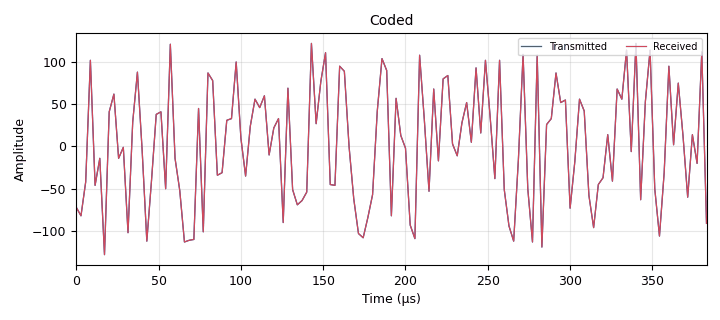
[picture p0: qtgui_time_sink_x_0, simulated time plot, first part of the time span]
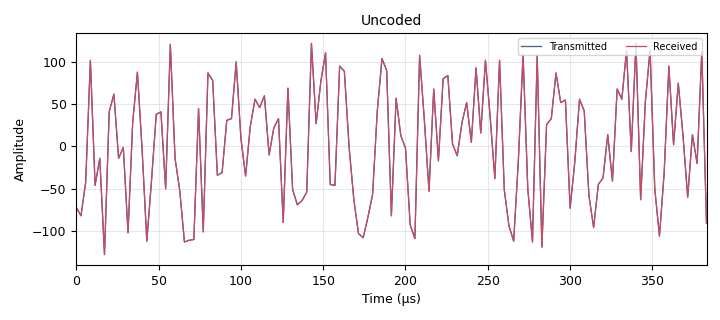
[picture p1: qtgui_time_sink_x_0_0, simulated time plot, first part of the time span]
<?xml version='1.0' encoding='utf-8'?>
<?grc format='1' created='3.7.9'?>
<flow_graph>
<block>
<key>options</key>
<param><key>id</key><value>polar_code_example</value></param>
<param><key>author</key><value>Johannes Demel</value></param>
<param><key>category</key><value>Custom</value></param>
<param><key>generate_options</key><value>qt_gui</value></param>
<param><key>title</key><value>POLAR code example flowgraph</value></param>
</block>
<block>
<key>variable</key>
<param><key>id</key><value>block_size</value></param>
<param><key>value</key><value>1024</value></param>
</block>
<block>
<key>variable</key>
<param><key>id</key><value>n_info_bits</value></param>
<param><key>value</key><value>block_size / 2</value></param>
</block>
<block>
<key>variable_qtgui_range</key>
<param><key>id</key><value>noise</value></param>
<param><key>value</key><value>0.1</value></param>
<param><key>gui_hint</key><value>0,0,1,2</value></param>
<param><key>label</key><value>Noive Voltage</value></param>
<param><key>orient</key><value>Qt.Horizontal</value></param>
<param><key>start</key><value>0</value></param>
<param><key>step</key><value>0.01</value></param>
<param><key>stop</key><value>2</value></param>
</block>
<block>
<key>variable_polar_code_configurator</key>
<param><key>id</key><value>polar_config</value></param>
<param><key>num_info_bits</key><value>n_info_bits</value></param>
<param><key>block_size</key><value>block_size</value></param>
<param><key>channel</key><value>polar.CHANNEL_TYPE_BEC</value></param>
<param><key>design_snr</key><value>0.0</value></param>
<param><key>mu</key><value>32</value></param>
</block>
<block>
<key>variable_polar_decoder_sc_def</key>
<param><key>id</key><value>polar_decoder</value></param>
<param><key>num_info_bits</key><value>n_info_bits</value></param>
<param><key>block_size</key><value>block_size</value></param>
<param><key>frozen_bit_positions</key><value>polar_config['positions']</value></param>
<param><key>frozen_bit_values</key><value>polar_config['values']</value></param>
<param><key>ndim</key><value>0</value></param>
</block>
<block>
<key>variable_polar_encoder_def</key>
<param><key>id</key><value>polar_encoder</value></param>
<param><key>num_info_bits</key><value>n_info_bits</value></param>
<param><key>block_size</key><value>block_size</value></param>
<param><key>frozen_bit_positions</key><value>polar_config['positions']</value></param>
<param><key>frozen_bit_values</key><value>polar_config['values']</value></param>
<param><key>is_packed</key><value>False</value></param>
<param><key>ndim</key><value>0</value></param>
</block>
<block>
<key>variable_polar_decoder_sc_list_def</key>
<param><key>id</key><value>polar_scld</value></param>
<param><key>num_info_bits</key><value>n_info_bits</value></param>
<param><key>block_size</key><value>block_size</value></param>
<param><key>_enabled</key><value>0</value></param>
<param><key>frozen_bit_positions</key><value>polar_config['positions']</value></param>
<param><key>frozen_bit_values</key><value>polar_config['values']</value></param>
<param><key>max_list_size</key><value>8</value></param>
<param><key>ndim</key><value>0</value></param>
</block>
<block>
<key>variable</key>
<param><key>id</key><value>samp_rate</value></param>
<param><key>value</key><value>350e3</value></param>
</block>
<block>
<key>analog_fastnoise_source_x</key>
<param><key>id</key><value>analog_fastnoise_source_x_0</value></param>
<param><key>amp</key><value>noise</value></param>
<param><key>noise_type</key><value>analog.GR_GAUSSIAN</value></param>
<param><key>type</key><value>short</value></param>
<param><key>seed</key><value>0</value></param>
<param><key>samples</key><value>8192</value></param>
</block>
<block>
<key>analog_fastnoise_source_x</key>
<param><key>id</key><value>analog_fastnoise_source_x_0_0</value></param>
<param><key>amp</key><value>noise</value></param>
<param><key>noise_type</key><value>analog.GR_GAUSSIAN</value></param>
<param><key>type</key><value>short</value></param>
<param><key>seed</key><value>0</value></param>
<param><key>samples</key><value>8192</value></param>
</block>
<block>
<key>analog_random_source_x</key>
<param><key>id</key><value>analog_random_source_x_0</value></param>
<param><key>max</key><value>256</value></param>
<param><key>min</key><value>0</value></param>
<param><key>num_samps</key><value>2 ** 10 +1</value></param>
<param><key>type</key><value>byte</value></param>
<param><key>repeat</key><value>True</value></param>
</block>
<block>
<key>blocks_add_xx</key>
<param><key>id</key><value>blocks_add_xx_0</value></param>
<param><key>type</key><value>short</value></param>
</block>
<block>
<key>blocks_add_xx</key>
<param><key>id</key><value>blocks_add_xx_0_0</value></param>
<param><key>type</key><value>short</value></param>
</block>
<block>
<key>blocks_char_to_float</key>
<param><key>id</key><value>blocks_char_to_float_0</value></param>
<param><key>scale</key><value>1.0</value></param>
</block>
<block>
<key>blocks_char_to_float</key>
<param><key>id</key><value>blocks_char_to_float_0_0</value></param>
<param><key>scale</key><value>1.0</value></param>
</block>
<block>
<key>blocks_char_to_float</key>
<param><key>id</key><value>blocks_char_to_float_0_1</value></param>
<param><key>scale</key><value>1.0</value></param>
</block>
<block>
<key>blocks_char_to_float</key>
<param><key>id</key><value>blocks_char_to_float_0_1_0</value></param>
<param><key>scale</key><value>1.0</value></param>
</block>
<block>
<key>blocks_char_to_float</key>
<param><key>id</key><value>blocks_char_to_float_0_2</value></param>
<param><key>scale</key><value>1</value></param>
</block>
<block>
<key>blocks_char_to_short</key>
<param><key>id</key><value>blocks_char_to_short_0</value></param>
</block>
<block>
<key>blocks_char_to_short</key>
<param><key>id</key><value>blocks_char_to_short_0_0</value></param>
</block>
<block>
<key>blocks_pack_k_bits_bb</key>
<param><key>id</key><value>blocks_pack_k_bits_bb_0</value></param>
<param><key>k</key><value>8</value></param>
</block>
<block>
<key>blocks_pack_k_bits_bb</key>
<param><key>id</key><value>blocks_pack_k_bits_bb_0_0</value></param>
<param><key>k</key><value>8</value></param>
</block>
<block>
<key>blocks_short_to_char</key>
<param><key>id</key><value>blocks_short_to_char_0</value></param>
</block>
<block>
<key>blocks_short_to_char</key>
<param><key>id</key><value>blocks_short_to_char_0_0</value></param>
</block>
<block>
<key>blocks_unpack_k_bits_bb</key>
<param><key>id</key><value>blocks_unpack_k_bits_bb_0</value></param>
<param><key>k</key><value>8</value></param>
</block>
<block>
<key>digital_map_bb</key>
<param><key>id</key><value>digital_map_bb_0</value></param>
<param><key>map</key><value>[-1, 1]</value></param>
</block>
<block>
<key>fec_ber_bf</key>
<param><key>id</key><value>fec_ber_bf_0</value></param>
<param><key>berminerrors</key><value>10000</value></param>
<param><key>test_mode</key><value>False</value></param>
</block>
<block>
<key>fec_ber_bf</key>
<param><key>id</key><value>fec_ber_bf_0_0</value></param>
<param><key>berminerrors</key><value>10000</value></param>
<param><key>test_mode</key><value>False</value></param>
</block>
<block>
<key>fec_extended_decoder</key>
<param><key>id</key><value>fec_extended_decoder_0</value></param>
<param><key>decoder_list</key><value>polar_decoder</value></param>
<param><key>puncpat</key><value>'11'</value></param>
<param><key>threadtype</key><value>none</value></param>
</block>
<block>
<key>fec_extended_encoder</key>
<param><key>id</key><value>fec_extended_encoder_0</value></param>
<param><key>encoder_list</key><value>polar_encoder</value></param>
<param><key>puncpat</key><value>'11'</value></param>
<param><key>threadtype</key><value>none</value></param>
</block>
<block>
<key>qtgui_number_sink</key>
<param><key>id</key><value>qtgui_number_sink_0</value></param>
<param><key>gui_hint</key><value>2,0,1,1</value></param>
<param><key>graph_type</key><value>qtgui.NUM_GRAPH_HORIZ</value></param>
<param><key>type</key><value>float</value></param>
<param><key>label1</key><value>BER</value></param>
<param><key>name</key><value>Coded</value></param>
</block>
<block>
<key>qtgui_number_sink</key>
<param><key>id</key><value>qtgui_number_sink_0_0</value></param>
<param><key>gui_hint</key><value>2,1,1,1</value></param>
<param><key>graph_type</key><value>qtgui.NUM_GRAPH_HORIZ</value></param>
<param><key>type</key><value>float</value></param>
<param><key>label1</key><value>BER</value></param>
<param><key>max</key><value>0</value></param>
<param><key>min</key><value>-10</value></param>
<param><key>name</key><value>Uncoded</value></param>
</block>
<block>
<key>qtgui_time_sink_x</key>
<param><key>id</key><value>qtgui_time_sink_x_0</value></param>
<param><key>autoscale</key><value>True</value></param>
<param><key>gui_hint</key><value>1,0,1,1</value></param>
<param><key>color1</key><value>"blue"</value></param>
<param><key>label1</key><value>Transmitted</value></param>
<param><key>color2</key><value>"red"</value></param>
<param><key>label2</key><value>Received</value></param>
<param><key>name</key><value>Coded</value></param>
<param><key>nconnections</key><value>2</value></param>
<param><key>size</key><value>1024</value></param>
<param><key>srate</key><value>samp_rate</value></param>
<param><key>type</key><value>float</value></param>
<param><key>ymax</key><value>0</value></param>
<param><key>ymin</key><value>-10</value></param>
</block>
<block>
<key>qtgui_time_sink_x</key>
<param><key>id</key><value>qtgui_time_sink_x_0_0</value></param>
<param><key>autoscale</key><value>True</value></param>
<param><key>gui_hint</key><value>1,1,1,1</value></param>
<param><key>color1</key><value>"blue"</value></param>
<param><key>label1</key><value>Transmitted</value></param>
<param><key>color2</key><value>"red"</value></param>
<param><key>label2</key><value>Received</value></param>
<param><key>name</key><value>Uncoded</value></param>
<param><key>nconnections</key><value>2</value></param>
<param><key>size</key><value>1024</value></param>
<param><key>srate</key><value>samp_rate</value></param>
<param><key>type</key><value>float</value></param>
</block>
<block>
<key>virtual_sink</key>
<param><key>id</key><value>virtual_sink_0</value></param>
<param><key>stream_id</key><value>input_packed</value></param>
</block>
<block>
<key>virtual_sink</key>
<param><key>id</key><value>virtual_sink_0_0</value></param>
<param><key>stream_id</key><value>input_unpacked</value></param>
</block>
<block>
<key>virtual_source</key>
<param><key>id</key><value>virtual_source_0</value></param>
<param><key>stream_id</key><value>input_packed</value></param>
</block>
<block>
<key>virtual_source</key>
<param><key>id</key><value>virtual_source_0_0</value></param>
<param><key>stream_id</key><value>input_packed</value></param>
</block>
<block>
<key>virtual_source</key>
<param><key>id</key><value>virtual_source_0_0_0</value></param>
<param><key>stream_id</key><value>input_packed</value></param>
</block>
<block>
<key>virtual_source</key>
<param><key>id</key><value>virtual_source_0_1</value></param>
<param><key>stream_id</key><value>input_unpacked</value></param>
</block>
<connection><source_block_id>analog_fastnoise_source_x_0</source_block_id><sink_block_id>blocks_add_xx_0</sink_block_id><source_key>0</source_key><sink_key>1</sink_key></connection>
<connection><source_block_id>analog_fastnoise_source_x_0_0</source_block_id><sink_block_id>blocks_add_xx_0_0</sink_block_id><source_key>0</source_key><sink_key>1</sink_key></connection>
<connection><source_block_id>analog_random_source_x_0</source_block_id><sink_block_id>blocks_unpack_k_bits_bb_0</sink_block_id><source_key>0</source_key><sink_key>0</sink_key></connection>
<connection><source_block_id>analog_random_source_x_0</source_block_id><sink_block_id>fec_ber_bf_0</sink_block_id><source_key>0</source_key><sink_key>0</sink_key></connection>
<connection><source_block_id>analog_random_source_x_0</source_block_id><sink_block_id>virtual_sink_0</sink_block_id><source_key>0</source_key><sink_key>0</sink_key></connection>
<connection><source_block_id>blocks_add_xx_0</source_block_id><sink_block_id>blocks_short_to_char_0</sink_block_id><source_key>0</source_key><sink_key>0</sink_key></connection>
<connection><source_block_id>blocks_add_xx_0_0</source_block_id><sink_block_id>blocks_short_to_char_0_0</sink_block_id><source_key>0</source_key><sink_key>0</sink_key></connection>
<connection><source_block_id>blocks_char_to_float_0</source_block_id><sink_block_id>qtgui_time_sink_x_0</sink_block_id><source_key>0</source_key><sink_key>1</sink_key></connection>
<connection><source_block_id>blocks_char_to_float_0_0</source_block_id><sink_block_id>qtgui_time_sink_x_0_0</sink_block_id><source_key>0</source_key><sink_key>1</sink_key></connection>
<connection><source_block_id>blocks_char_to_float_0_1</source_block_id><sink_block_id>qtgui_time_sink_x_0</sink_block_id><source_key>0</source_key><sink_key>0</sink_key></connection>
<connection><source_block_id>blocks_char_to_float_0_1_0</source_block_id><sink_block_id>qtgui_time_sink_x_0_0</sink_block_id><source_key>0</source_key><sink_key>0</sink_key></connection>
<connection><source_block_id>blocks_char_to_float_0_2</source_block_id><sink_block_id>fec_extended_decoder_0</sink_block_id><source_key>0</source_key><sink_key>0</sink_key></connection>
<connection><source_block_id>blocks_char_to_short_0</source_block_id><sink_block_id>blocks_add_xx_0</sink_block_id><source_key>0</source_key><sink_key>0</sink_key></connection>
<connection><source_block_id>blocks_char_to_short_0_0</source_block_id><sink_block_id>blocks_add_xx_0_0</sink_block_id><source_key>0</source_key><sink_key>0</sink_key></connection>
<connection><source_block_id>blocks_pack_k_bits_bb_0</source_block_id><sink_block_id>blocks_char_to_float_0</sink_block_id><source_key>0</source_key><sink_key>0</sink_key></connection>
<connection><source_block_id>blocks_pack_k_bits_bb_0</source_block_id><sink_block_id>fec_ber_bf_0</sink_block_id><source_key>0</source_key><sink_key>1</sink_key></connection>
<connection><source_block_id>blocks_pack_k_bits_bb_0_0</source_block_id><sink_block_id>blocks_char_to_float_0_0</sink_block_id><source_key>0</source_key><sink_key>0</sink_key></connection>
<connection><source_block_id>blocks_pack_k_bits_bb_0_0</source_block_id><sink_block_id>fec_ber_bf_0_0</sink_block_id><source_key>0</source_key><sink_key>1</sink_key></connection>
<connection><source_block_id>blocks_short_to_char_0</source_block_id><sink_block_id>digital_map_bb_0</sink_block_id><source_key>0</source_key><sink_key>0</sink_key></connection>
<connection><source_block_id>blocks_short_to_char_0_0</source_block_id><sink_block_id>blocks_pack_k_bits_bb_0_0</sink_block_id><source_key>0</source_key><sink_key>0</sink_key></connection>
<connection><source_block_id>blocks_unpack_k_bits_bb_0</source_block_id><sink_block_id>fec_extended_encoder_0</sink_block_id><source_key>0</source_key><sink_key>0</sink_key></connection>
<connection><source_block_id>blocks_unpack_k_bits_bb_0</source_block_id><sink_block_id>virtual_sink_0_0</sink_block_id><source_key>0</source_key><sink_key>0</sink_key></connection>
<connection><source_block_id>digital_map_bb_0</source_block_id><sink_block_id>blocks_char_to_float_0_2</sink_block_id><source_key>0</source_key><sink_key>0</sink_key></connection>
<connection><source_block_id>fec_ber_bf_0</source_block_id><sink_block_id>qtgui_number_sink_0</sink_block_id><source_key>0</source_key><sink_key>0</sink_key></connection>
<connection><source_block_id>fec_ber_bf_0_0</source_block_id><sink_block_id>qtgui_number_sink_0_0</sink_block_id><source_key>0</source_key><sink_key>0</sink_key></connection>
<connection><source_block_id>fec_extended_decoder_0</source_block_id><sink_block_id>blocks_pack_k_bits_bb_0</sink_block_id><source_key>0</source_key><sink_key>0</sink_key></connection>
<connection><source_block_id>fec_extended_encoder_0</source_block_id><sink_block_id>blocks_char_to_short_0</sink_block_id><source_key>0</source_key><sink_key>0</sink_key></connection>
<connection><source_block_id>virtual_source_0</source_block_id><sink_block_id>fec_ber_bf_0_0</sink_block_id><source_key>0</source_key><sink_key>0</sink_key></connection>
<connection><source_block_id>virtual_source_0_0</source_block_id><sink_block_id>blocks_char_to_float_0_1</sink_block_id><source_key>0</source_key><sink_key>0</sink_key></connection>
<connection><source_block_id>virtual_source_0_0_0</source_block_id><sink_block_id>blocks_char_to_float_0_1_0</sink_block_id><source_key>0</source_key><sink_key>0</sink_key></connection>
<connection><source_block_id>virtual_source_0_1</source_block_id><sink_block_id>blocks_char_to_short_0_0</sink_block_id><source_key>0</source_key><sink_key>0</sink_key></connection>
</flow_graph>
